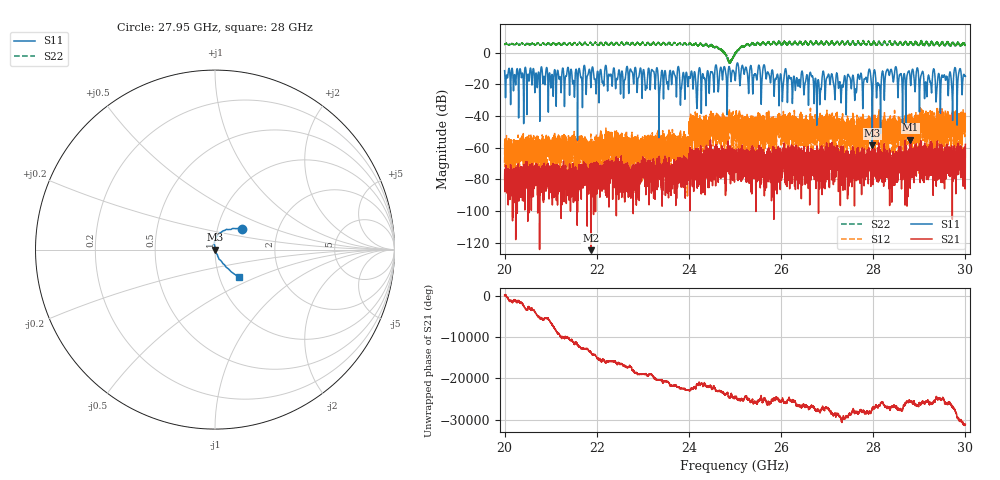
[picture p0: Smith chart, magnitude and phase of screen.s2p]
#  HZ  S  RI  R  50.00
! Rohde & Schwarz ZVA40 4Ports - Version 3.90 - 1145.1110k42 SN: 100403
! Date: 2023-08-22 06:29:44
! Measurements: S11 S21 S12 S22
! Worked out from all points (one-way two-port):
!   8001 points, 20 GHz to 30 GHz, reference 50 ohm
!   highest |S21| = -54.99 dB at 28.81 GHz (marker M1); lowest = -124.8 dB at 21.87 GHz (marker M2)
!   lowest |S11| = -58.4 dB at 27.98 GHz (marker M3), VSWR 1.00, Z = 50 - j0.117 ohm
!   |S11| at or under -10 dB: 25.65 GHz to 28.47 GHz (2.822 GHz wide, 10.4 % of centre); 28.5 GHz to 28.95 GHz (444.1 MHz wide, 1.55 % of centre); 28.97 GHz to 29.76 GHz (797 MHz wide, 2.71 % of centre) (the widest 3 of 35)
!   |S22| runs from -7.5 to 7.8 dB; largest |S21 - S12| = 0.019
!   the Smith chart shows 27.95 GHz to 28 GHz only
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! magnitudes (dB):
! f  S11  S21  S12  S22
! 20 GHz  -11.3  -80.1  -69.6  5.3
! 21.67 GHz  -15.8  -76.0  -59.4  5.2
! 21.87 GHz  -21.8  -124.8  -65.1  6.1
! 23.33 GHz  -16.2  -70.1  -56.5  6.6
! 23.74 GHz  -15.0  -74.4  -52.9  5.0
! 23.95 GHz  -13.1  -71.2  -61.8  5.0
! 24.06 GHz  -11.9  -75.0  -43.5  5.2
! 24.14 GHz  -14.4  -70.6  -37.4  5.8
! 25 GHz  -17.1  -68.4  -46.0  -0.7
! 25.65 GHz  -10.5  -68.0  -44.5  5.3
! 26 GHz  -13.8  -66.3  -46.0  5.4
! 26.67 GHz  -15.1  -67.6  -57.0  6.3
! 26.82 GHz  -18.4  -68.0  -41.5  5.2
! 27.06 GHz  -19.7  -73.6  -52.9  5.7
! 27.29 GHz  -23.7  -77.7  -48.1  5.8
! 27.98 GHz  -58.4  -65.2  -43.8  5.4
! 28.12 GHz  -20.2  -64.2  -49.0  6.9
! 28.33 GHz  -12.5  -76.7  -53.1  6.4
! 28.67 GHz  -13.2  -70.2  -49.3  5.8
! 28.81 GHz  -18.7  -55.0  -51.6  6.8
! 29.14 GHz  -18.9  -64.4  -54.3  6.4
! 30 GHz  -14.9  -57.9  -39.9  4.6
